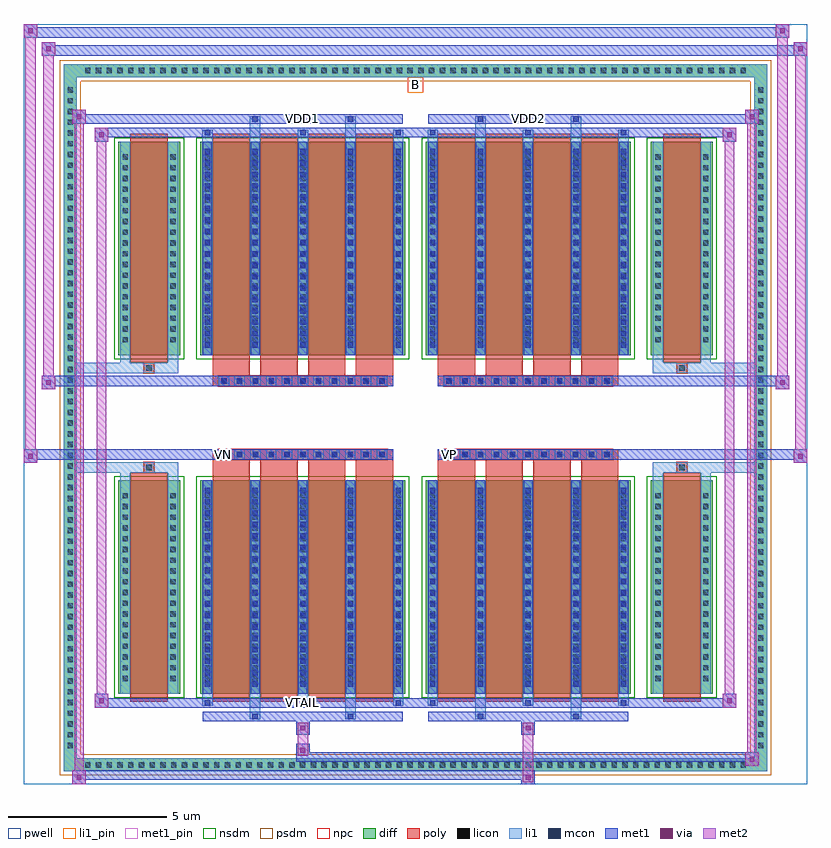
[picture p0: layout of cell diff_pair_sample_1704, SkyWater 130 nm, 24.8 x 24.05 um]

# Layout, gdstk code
import gdstk
lib = gdstk.Library(unit=1e-6, precision=5e-09)
def R(c, l, rs):  # rectangles x0, y0, x1, y1
    for r in rs: c.add(gdstk.rectangle(r[:2], r[2:], *l))
def A(c, l, x, y, w, h, nx, ny, dx, dy):  # array of equal rectangles
    R(c, l, [(x+i*dx, y+j*dy, x+i*dx+w, y+j*dy+h) for i in range(nx) for j in range(ny)])
def P(c, l, *ps):  # polygons
    for p in ps: c.add(gdstk.Polygon(p, *l))
pwell = (64, 44)
diff = (65, 20)
poly = (66, 20)
licon = (66, 44)
li1_pin = (67, 16)
li1 = (67, 20)
mcon = (67, 44)
met1_pin = (68, 16)
met1 = (68, 20)
via = (68, 44)
met2 = (69, 20)
nsdm = (93, 44)
psdm = (94, 20)
npc = (95, 20)

diff_pair_sample_1704 = lib.new_cell('diff_pair_sample_1704')
R(diff_pair_sample_1704, pwell, [(-12.4,-11.59,12.4,12.46), (-9.72,-9.78,-0.01,-0.8), (0.01,-9.78,9.72,-0.8), (-9.72,0.8,-0.01,9.78), (0.01,0.8,9.72,9.78)])
A(diff_pair_sample_1704, diff, -10.575, -11.19, 0.41, 0.41, 62, 2, 0.34, 21.97)
A(diff_pair_sample_1704, diff, -11.13, -10.575, 0.41, 0.41, 1, 62, 0, 0.34)
A(diff_pair_sample_1704, diff, 10.72, -10.575, 0.41, 0.41, 1, 62, 0, 0.34)
R(diff_pair_sample_1704, diff, [(-10.575,-11.19,10.575,-10.78), (-11.13,-10.575,-10.72,10.575), (10.72,-10.575,11.13,10.575), (-9.41,-8.735,-7.45,-1.985), (-6.81,-8.735,-0.32,-1.985), (0.32,-8.735,6.81,-1.985), (7.45,-8.735,9.41,-1.985), (-9.41,1.985,-7.45,8.735), (-6.81,1.985,-0.32,8.735), (0.32,1.985,6.81,8.735), (7.45,1.985,9.41,8.735), (-10.575,10.78,10.575,11.19)])
P(diff_pair_sample_1704, diff, [(11.13,11.19),(-11.13,11.19),(-11.13,-10.78),(-10.72,-10.78),(-10.72,10.78),(10.72,10.78),(10.72,-10.78),(-10.72,-10.78),(-11.13,-10.78),(-11.13,-11.19),(11.13,-11.19)])
A(diff_pair_sample_1704, poly, -6.42, -8.985, 1.18, 7.25, 4, 2, 1.51, 10.72)
A(diff_pair_sample_1704, poly, 0.71, -8.985, 1.18, 7.25, 4, 2, 1.51, 10.72)
A(diff_pair_sample_1704, poly, -6.42, -1.735, 1.18, 0.405, 4, 2, 1.51, 3.065)
A(diff_pair_sample_1704, poly, 0.71, -1.735, 1.18, 0.405, 4, 2, 1.51, 3.065)
A(diff_pair_sample_1704, poly, -6.23, -1.33, 0.33, 0.33, 11, 2, 0.5, 2.33)
A(diff_pair_sample_1704, poly, 0.9, -1.33, 0.33, 0.33, 11, 2, 0.5, 2.33)
R(diff_pair_sample_1704, poly, [(-9.02,-8.985,-7.84,-1.735), (7.84,-8.985,9.02,-1.735), (-8.595,-1.735,-8.265,-1.405), (-8.595,-1.735,-8.265,-1.405), (8.265,-1.735,8.595,-1.405), (8.265,-1.735,8.595,-1.405), (-6.42,-1.33,-0.71,-1), (0.71,-1.33,6.42,-1), (-6.42,1,-0.71,1.33), (0.71,1,6.42,1.33), (-8.595,1.405,-8.265,1.735), (-8.595,1.405,-8.265,1.735), (8.265,1.405,8.595,1.735), (8.265,1.405,8.595,1.735), (-9.02,1.735,-7.84,8.985), (7.84,1.735,9.02,8.985)])
A(diff_pair_sample_1704, licon, -10.455, -11.07, 0.17, 0.17, 62, 2, 0.34, 21.97)
A(diff_pair_sample_1704, licon, -11.01, -10.455, 0.17, 0.17, 1, 62, 0, 0.34)
A(diff_pair_sample_1704, licon, 10.84, -10.455, 0.17, 0.17, 1, 62, 0, 0.34)
A(diff_pair_sample_1704, licon, -9.27, -8.335, 0.17, 0.17, 1, 18, 0, 0.34)
A(diff_pair_sample_1704, licon, -7.76, -8.335, 0.17, 0.17, 1, 18, 0, 0.34)
A(diff_pair_sample_1704, licon, -6.67, -8.335, 0.17, 0.17, 5, 18, 1.51, 0.34)
A(diff_pair_sample_1704, licon, 0.46, -8.335, 0.17, 0.17, 5, 18, 1.51, 0.34)
A(diff_pair_sample_1704, licon, 7.59, -8.335, 0.17, 0.17, 1, 18, 0, 0.34)
A(diff_pair_sample_1704, licon, 9.1, -8.335, 0.17, 0.17, 1, 18, 0, 0.34)
A(diff_pair_sample_1704, licon, -6.15, -1.25, 0.17, 0.17, 11, 2, 0.5, 2.33)
A(diff_pair_sample_1704, licon, 0.98, -1.25, 0.17, 0.17, 11, 2, 0.5, 2.33)
A(diff_pair_sample_1704, licon, -9.27, 2.385, 0.17, 0.17, 1, 18, 0, 0.34)
A(diff_pair_sample_1704, licon, -7.76, 2.385, 0.17, 0.17, 1, 18, 0, 0.34)
A(diff_pair_sample_1704, licon, -6.67, 2.385, 0.17, 0.17, 5, 18, 1.51, 0.34)
A(diff_pair_sample_1704, licon, 0.46, 2.385, 0.17, 0.17, 5, 18, 1.51, 0.34)
A(diff_pair_sample_1704, licon, 7.59, 2.385, 0.17, 0.17, 1, 18, 0, 0.34)
A(diff_pair_sample_1704, licon, 9.1, 2.385, 0.17, 0.17, 1, 18, 0, 0.34)
R(diff_pair_sample_1704, licon, [(-8.515,-1.655,-8.345,-1.485), (8.345,-1.655,8.515,-1.485), (-8.515,1.485,-8.345,1.655), (8.345,1.485,8.515,1.655)])
R(diff_pair_sample_1704, li1_pin, [(-0.25,10.28,0.25,10.78)])
A(diff_pair_sample_1704, li1, -10.535, -11.15, 0.33, 0.33, 62, 2, 0.34, 21.97)
A(diff_pair_sample_1704, li1, -11.09, -10.535, 0.33, 0.33, 1, 62, 0, 0.34)
A(diff_pair_sample_1704, li1, 10.76, -10.535, 0.33, 0.33, 1, 62, 0, 0.34)
A(diff_pair_sample_1704, li1, -6.75, -9.11, 0.33, 0.375, 3, 2, 3.02, 17.845)
A(diff_pair_sample_1704, li1, -6.67, -9.11, 0.17, 0.17, 3, 2, 3.02, 18.05)
A(diff_pair_sample_1704, li1, 0.38, -9.11, 0.33, 0.375, 3, 2, 3.02, 17.845)
A(diff_pair_sample_1704, li1, 0.46, -9.11, 0.17, 0.17, 3, 2, 3.02, 18.05)
A(diff_pair_sample_1704, li1, -6.75, -8.735, 0.33, 6.75, 5, 2, 1.51, 10.72)
A(diff_pair_sample_1704, li1, 0.38, -8.735, 0.33, 6.75, 5, 2, 1.51, 10.72)
A(diff_pair_sample_1704, li1, -6.67, -8.505, 0.17, 0.17, 5, 18, 1.51, 0.36)
A(diff_pair_sample_1704, li1, -6.67, -8.505, 0.17, 6.29, 5, 2, 1.51, 10.72)
A(diff_pair_sample_1704, li1, 0.46, -8.505, 0.17, 0.17, 5, 18, 1.51, 0.36)
A(diff_pair_sample_1704, li1, 0.46, -8.505, 0.17, 6.29, 5, 2, 1.51, 10.72)
A(diff_pair_sample_1704, li1, -9.35, -8.415, 0.33, 0.33, 1, 18, 0, 0.34)
A(diff_pair_sample_1704, li1, -7.84, -8.415, 0.33, 0.33, 1, 18, 0, 0.34)
A(diff_pair_sample_1704, li1, -6.75, -8.415, 0.33, 0.33, 5, 18, 1.51, 0.34)
A(diff_pair_sample_1704, li1, 0.38, -8.415, 0.33, 0.33, 5, 18, 1.51, 0.34)
A(diff_pair_sample_1704, li1, 7.51, -8.415, 0.33, 0.33, 1, 18, 0, 0.34)
A(diff_pair_sample_1704, li1, 9.02, -8.415, 0.33, 0.33, 1, 18, 0, 0.34)
A(diff_pair_sample_1704, li1, -6.23, -1.33, 0.33, 0.33, 11, 2, 0.5, 2.33)
A(diff_pair_sample_1704, li1, 0.9, -1.33, 0.33, 0.33, 11, 2, 0.5, 2.33)
A(diff_pair_sample_1704, li1, -6.67, 2.215, 0.17, 0.17, 5, 18, 1.51, 0.36)
A(diff_pair_sample_1704, li1, 0.46, 2.215, 0.17, 0.17, 5, 18, 1.51, 0.36)
A(diff_pair_sample_1704, li1, -9.35, 2.305, 0.33, 0.33, 1, 18, 0, 0.34)
A(diff_pair_sample_1704, li1, -7.84, 2.305, 0.33, 0.33, 1, 18, 0, 0.34)
A(diff_pair_sample_1704, li1, -6.75, 2.305, 0.33, 0.33, 5, 18, 1.51, 0.34)
A(diff_pair_sample_1704, li1, 0.38, 2.305, 0.33, 0.33, 5, 18, 1.51, 0.34)
A(diff_pair_sample_1704, li1, 7.51, 2.305, 0.33, 0.33, 1, 18, 0, 0.34)
A(diff_pair_sample_1704, li1, 9.02, 2.305, 0.33, 0.33, 1, 18, 0, 0.34)
R(diff_pair_sample_1704, li1, [(-11.13,-11.19,-10.72,-10.78), (-11.13,-11.19,-10.72,-10.78), (-10.72,-11.19,10.72,-10.78), (10.72,-11.19,11.13,-10.78), (10.72,-11.19,11.13,-10.78), (-11.13,-10.78,-10.72,10.78), (10.72,-10.78,11.13,10.78), (-5.24,-9.54,-4.91,-8.735), (-5.16,-9.54,-4.99,-9.37), (-2.22,-9.54,-1.89,-8.735), (-2.14,-9.54,-1.97,-9.37), (1.89,-9.54,2.22,-8.735), (1.97,-9.54,2.14,-9.37), (4.91,-9.54,5.24,-8.735), (4.99,-9.54,5.16,-9.37), (-9.35,-8.735,-9.02,-1.985), (-7.84,-8.735,-7.51,-1.985), (7.51,-8.735,7.84,-1.985), (9.02,-8.735,9.35,-1.985), (-9.35,-1.985,-9.02,-1.405), (-7.84,-1.985,-7.51,-1.405), (7.51,-1.985,7.84,-1.405), (9.02,-1.985,9.35,-1.405), (-11.13,-1.735,-8.595,-1.405), (-9.35,-1.735,-8.595,-1.405), (-8.595,-1.735,-8.265,-1.405), (-8.265,-1.735,-7.51,-1.405), (7.51,-1.735,8.265,-1.405), (8.265,-1.735,8.595,-1.405), (8.265,-1.735,11.13,-1.405), (8.595,-1.735,9.35,-1.405), (-11.13,1.405,-8.595,1.735), (-9.35,1.405,-8.595,1.735), (-9.35,1.405,-9.02,1.985), (-8.595,1.405,-8.265,1.735), (-8.265,1.405,-7.51,1.735), (-7.84,1.405,-7.51,1.985), (7.51,1.405,8.265,1.735), (7.51,1.405,7.84,1.985), (8.265,1.405,8.595,1.735), (8.265,1.405,11.13,1.735), (8.595,1.405,9.35,1.735), (9.02,1.405,9.35,1.985), (-9.35,1.985,-9.02,8.735), (-7.84,1.985,-7.51,8.735), (7.51,1.985,7.84,8.735), (9.02,1.985,9.35,8.735), (-5.24,8.735,-4.91,9.54), (-2.22,8.735,-1.89,9.54), (1.89,8.735,2.22,9.54), (4.91,8.735,5.24,9.54), (-5.16,9.37,-4.99,9.54), (-2.14,9.37,-1.97,9.54), (1.97,9.37,2.14,9.54), (4.99,9.37,5.16,9.54), (-11.13,10.78,-10.72,11.19), (-11.13,10.78,-10.72,11.19), (-10.72,10.78,10.72,11.19), (10.72,10.78,11.13,11.19), (10.72,10.78,11.13,11.19)])
A(diff_pair_sample_1704, mcon, -6.67, -9.11, 0.17, 0.17, 3, 2, 3.02, 18.05)
A(diff_pair_sample_1704, mcon, 0.46, -9.11, 0.17, 0.17, 3, 2, 3.02, 18.05)
A(diff_pair_sample_1704, mcon, -6.67, -8.505, 0.17, 0.17, 5, 18, 1.51, 0.36)
A(diff_pair_sample_1704, mcon, 0.46, -8.505, 0.17, 0.17, 5, 18, 1.51, 0.36)
A(diff_pair_sample_1704, mcon, -6.15, -1.25, 0.17, 0.17, 11, 2, 0.5, 2.33)
A(diff_pair_sample_1704, mcon, 0.98, -1.25, 0.17, 0.17, 11, 2, 0.5, 2.33)
A(diff_pair_sample_1704, mcon, -6.67, 2.215, 0.17, 0.17, 5, 18, 1.51, 0.36)
A(diff_pair_sample_1704, mcon, 0.46, 2.215, 0.17, 0.17, 5, 18, 1.51, 0.36)
R(diff_pair_sample_1704, mcon, [(-5.16,-9.54,-4.99,-9.37), (-2.14,-9.54,-1.97,-9.37), (1.97,-9.54,2.14,-9.37), (4.99,-9.54,5.16,-9.37), (-5.16,9.37,-4.99,9.54), (-2.14,9.37,-1.97,9.54), (1.97,9.37,2.14,9.54), (4.99,9.37,5.16,9.54)])
R(diff_pair_sample_1704, met1_pin, [(-3.7,-9.15,-3.43,-8.88), (-6.2,-1.29,-5.93,-1.02), (0.93,-1.29,1.2,-1.02), (-3.7,9.33,-3.43,9.6), (3.43,9.33,3.7,9.6)])
A(diff_pair_sample_1704, met1, -6.73, -9.17, 0.29, 0.29, 3, 2, 3.02, 18.05)
A(diff_pair_sample_1704, met1, 0.4, -9.17, 0.29, 0.29, 3, 2, 3.02, 18.05)
A(diff_pair_sample_1704, met1, -6.73, -8.735, 0.29, 6.75, 5, 2, 1.51, 10.72)
A(diff_pair_sample_1704, met1, 0.4, -8.735, 0.29, 6.75, 5, 2, 1.51, 10.72)
A(diff_pair_sample_1704, met1, -6.73, -8.565, 0.29, 0.29, 5, 18, 1.51, 0.36)
A(diff_pair_sample_1704, met1, 0.4, -8.565, 0.29, 0.29, 5, 18, 1.51, 0.36)
A(diff_pair_sample_1704, met1, -6.21, -1.31, 0.29, 0.29, 11, 2, 0.5, 2.33)
A(diff_pair_sample_1704, met1, 0.92, -1.31, 0.29, 0.29, 11, 2, 0.5, 2.33)
A(diff_pair_sample_1704, met1, -6.73, 2.155, 0.29, 0.29, 5, 18, 1.51, 0.36)
A(diff_pair_sample_1704, met1, 0.4, 2.155, 0.29, 0.29, 5, 18, 1.51, 0.36)
R(diff_pair_sample_1704, met1, [(-10.86,-11.59,-10.43,-11.16), (3.35,-11.59,3.78,-11.16), (-10.86,-11.45,3.78,-11.16), (10.43,-11.02,10.86,-10.59), (-3.78,-10.88,10.86,-10.59), (-3.78,-10.74,-3.35,-10.31), (-3.78,-10.03,-3.35,-9.6), (3.35,-10.03,3.78,-9.6), (-6.73,-9.6,-0.4,-9.31), (-5.22,-9.6,-4.93,-9.31), (-2.2,-9.6,-1.91,-9.31), (0.4,-9.6,6.73,-9.31), (1.91,-9.6,2.2,-9.31), (4.93,-9.6,5.22,-9.31), (-10.15,-9.17,-9.72,-8.74), (-10.15,-9.17,-6.73,-8.88), (-6.73,-9.17,-0.4,-8.88), (-0.4,-9.17,0.4,-8.88), (0.4,-9.17,6.73,-8.88), (6.73,-9.17,10.15,-8.88), (9.72,-9.17,10.15,-8.74), (-12.4,-1.43,-11.97,-1), (11.97,-1.43,12.4,-1), (-12.4,-1.33,-0.71,-1), (-6.42,-1.33,-0.71,-1), (0.71,-1.33,6.42,-1), (0.71,-1.33,12.4,-1), (-11.83,0.9,-11.4,1.33), (11.4,0.9,11.83,1.33), (-11.83,1,-6.42,1.33), (-6.42,1,-0.71,1.33), (0.71,1,6.42,1.33), (6.42,1,11.83,1.33), (-10.15,8.74,-9.72,9.17), (9.72,8.74,10.15,9.17), (-10.15,8.88,-6.73,9.17), (-6.73,8.88,-0.4,9.17), (-0.4,8.88,0.4,9.17), (0.4,8.88,6.73,9.17), (6.73,8.88,10.15,9.17), (-10.86,9.31,-10.43,9.74), (-10.86,9.31,-6.73,9.6), (-6.73,9.31,-0.4,9.6), (-5.22,9.31,-4.93,9.6), (-2.2,9.31,-1.91,9.6), (0.4,9.31,6.73,9.6), (1.91,9.31,2.2,9.6), (4.93,9.31,5.22,9.6), (6.73,9.31,10.86,9.6), (10.43,9.31,10.86,9.74), (-11.83,11.46,-11.4,11.89), (-11.83,11.46,-9.72,11.79), (-9.72,11.46,9.72,11.79), (9.72,11.46,12.4,11.79), (11.97,11.46,12.4,11.89), (-12.4,12.03,-11.97,12.46), (-12.4,12.03,-9.72,12.36), (-9.72,12.03,9.72,12.36), (9.72,12.03,11.83,12.36), (11.4,12.03,11.83,12.46)])
R(diff_pair_sample_1704, via, [(-10.72,-11.45,-10.57,-11.3), (3.49,-11.45,3.64,-11.3), (10.57,-10.88,10.72,-10.73), (-3.64,-10.6,-3.49,-10.45), (-3.64,-9.89,-3.49,-9.74), (3.49,-9.89,3.64,-9.74), (-10.01,-9.03,-9.86,-8.88), (9.86,-9.03,10.01,-8.88), (-12.26,-1.29,-12.11,-1.14), (12.11,-1.29,12.26,-1.14), (-11.69,1.04,-11.54,1.19), (11.54,1.04,11.69,1.19), (-10.01,8.88,-9.86,9.03), (9.86,8.88,10.01,9.03), (-10.72,9.45,-10.57,9.6), (10.57,9.45,10.72,9.6), (-11.69,11.6,-11.54,11.75), (12.11,11.6,12.26,11.75), (-12.26,12.17,-12.11,12.32), (11.54,12.17,11.69,12.32)])
R(diff_pair_sample_1704, met2, [(-10.86,-11.59,-10.43,-11.16), (-10.79,-11.59,-10.5,9.74), (-10.5,-11.59,-10.43,-11.16), (-10.81,-11.54,-10.48,-11.21), (3.4,-11.54,3.73,-11.21), (3.4,-11.21,3.73,-9.98), (10.43,-11.02,10.86,-10.59), (10.5,-11.02,10.79,9.74), (10.79,-11.02,10.86,-10.59), (10.48,-10.97,10.81,-10.64), (-3.73,-10.69,-3.4,-10.36), (-3.73,-10.36,-3.4,-9.98), (-3.73,-9.98,-3.4,-9.65), (3.4,-9.98,3.73,-9.65), (-10.15,-9.17,-9.72,-8.74), (-10.08,-9.17,-9.79,9.17), (-9.79,-9.17,-9.72,-8.74), (9.72,-9.17,10.15,-8.74), (9.79,-9.17,10.08,9.17), (10.08,-9.17,10.15,-8.74), (-10.1,-9.12,-9.77,-8.79), (9.77,-9.12,10.1,-8.79), (-12.4,-1.43,-11.97,-1), (-12.35,-1.43,-12.02,12.46), (-12.02,-1.43,-11.97,-1), (11.97,-1.43,12.4,-1), (12.02,-1.43,12.35,11.89), (12.35,-1.43,12.4,-1), (-12.35,-1.38,-12.02,-1.05), (12.02,-1.38,12.35,-1.05), (-11.83,0.9,-11.4,1.33), (-11.78,0.9,-11.45,11.89), (-11.45,0.9,-11.4,1.33), (11.4,0.9,11.83,1.33), (11.45,0.9,11.78,12.46), (11.78,0.9,11.83,1.33), (-11.78,0.95,-11.45,1.28), (11.45,0.95,11.78,1.28), (-10.15,8.74,-9.72,9.17), (-9.79,8.74,-9.72,9.17), (9.72,8.74,10.15,9.17), (10.08,8.74,10.15,9.17), (-10.1,8.79,-9.77,9.12), (9.77,8.79,10.1,9.12), (-10.86,9.31,-10.43,9.74), (-10.5,9.31,-10.43,9.74), (10.43,9.31,10.86,9.74), (10.79,9.31,10.86,9.74), (-10.81,9.36,-10.48,9.69), (10.48,9.36,10.81,9.69), (-11.83,11.46,-11.4,11.89), (-11.45,11.46,-11.4,11.89), (11.97,11.46,12.4,11.89), (12.35,11.46,12.4,11.89), (-11.78,11.51,-11.45,11.84), (12.02,11.51,12.35,11.84), (-12.4,12.03,-11.97,12.46), (-12.02,12.03,-11.97,12.46), (11.4,12.03,11.83,12.46), (11.78,12.03,11.83,12.46), (-12.35,12.08,-12.02,12.41), (11.45,12.08,11.78,12.41)])
R(diff_pair_sample_1704, nsdm, [(-9.54,-8.865,-7.32,-1.855), (-6.94,-8.865,-0.19,-1.855), (0.19,-8.865,6.94,-1.855), (7.32,-8.865,9.54,-1.855), (-9.54,1.855,-7.32,8.865), (-6.94,1.855,-0.19,8.865), (0.19,1.855,6.94,8.865), (7.32,1.855,9.54,8.865)])
P(diff_pair_sample_1704, psdm, [(11.26,11.32),(-11.26,11.32),(-11.26,-10.65),(-10.59,-10.65),(-10.59,10.65),(10.59,10.65),(10.59,-10.65),(-10.59,-10.65),(-11.26,-10.65),(-11.26,-11.32),(11.26,-11.32)])
A(diff_pair_sample_1704, npc, -6.25, -1.35, 0.37, 0.37, 11, 2, 0.5, 2.33)
A(diff_pair_sample_1704, npc, 0.88, -1.35, 0.37, 0.37, 11, 2, 0.5, 2.33)
R(diff_pair_sample_1704, npc, [(-8.615,-1.755,-8.245,-1.385), (8.245,-1.755,8.615,-1.385), (-6.25,-1.35,-5.38,-0.98), (-6.25,-1.35,-5.38,-0.98), (-5.75,-1.35,-4.88,-0.98), (-5.75,-1.35,-4.88,-0.98), (-5.25,-1.35,-4.38,-0.98), (-5.25,-1.35,-4.38,-0.98), (-4.75,-1.35,-3.88,-0.98), (-4.75,-1.35,-3.88,-0.98), (-4.25,-1.35,-3.38,-0.98), (-4.25,-1.35,-3.38,-0.98), (-3.75,-1.35,-2.88,-0.98), (-3.75,-1.35,-2.88,-0.98), (-3.25,-1.35,-2.38,-0.98), (-3.25,-1.35,-2.38,-0.98), (-2.75,-1.35,-1.88,-0.98), (-2.75,-1.35,-1.88,-0.98), (-2.25,-1.35,-1.38,-0.98), (-2.25,-1.35,-1.38,-0.98), (-1.75,-1.35,-0.88,-0.98), (-1.75,-1.35,-0.88,-0.98), (0.88,-1.35,1.75,-0.98), (0.88,-1.35,1.75,-0.98), (1.38,-1.35,2.25,-0.98), (1.38,-1.35,2.25,-0.98), (1.88,-1.35,2.75,-0.98), (1.88,-1.35,2.75,-0.98), (2.38,-1.35,3.25,-0.98), (2.38,-1.35,3.25,-0.98), (2.88,-1.35,3.75,-0.98), (2.88,-1.35,3.75,-0.98), (3.38,-1.35,4.25,-0.98), (3.38,-1.35,4.25,-0.98), (3.88,-1.35,4.75,-0.98), (3.88,-1.35,4.75,-0.98), (4.38,-1.35,5.25,-0.98), (4.38,-1.35,5.25,-0.98), (4.88,-1.35,5.75,-0.98), (4.88,-1.35,5.75,-0.98), (5.38,-1.35,6.25,-0.98), (5.38,-1.35,6.25,-0.98), (-6.25,0.98,-5.38,1.35), (-6.25,0.98,-5.38,1.35), (-5.75,0.98,-4.88,1.35), (-5.75,0.98,-4.88,1.35), (-5.25,0.98,-4.38,1.35), (-5.25,0.98,-4.38,1.35), (-4.75,0.98,-3.88,1.35), (-4.75,0.98,-3.88,1.35), (-4.25,0.98,-3.38,1.35), (-4.25,0.98,-3.38,1.35), (-3.75,0.98,-2.88,1.35), (-3.75,0.98,-2.88,1.35), (-3.25,0.98,-2.38,1.35), (-3.25,0.98,-2.38,1.35), (-2.75,0.98,-1.88,1.35), (-2.75,0.98,-1.88,1.35), (-2.25,0.98,-1.38,1.35), (-2.25,0.98,-1.38,1.35), (-1.75,0.98,-0.88,1.35), (-1.75,0.98,-0.88,1.35), (0.88,0.98,1.75,1.35), (0.88,0.98,1.75,1.35), (1.38,0.98,2.25,1.35), (1.38,0.98,2.25,1.35), (1.88,0.98,2.75,1.35), (1.88,0.98,2.75,1.35), (2.38,0.98,3.25,1.35), (2.38,0.98,3.25,1.35), (2.88,0.98,3.75,1.35), (2.88,0.98,3.75,1.35), (3.38,0.98,4.25,1.35), (3.38,0.98,4.25,1.35), (3.88,0.98,4.75,1.35), (3.88,0.98,4.75,1.35), (4.38,0.98,5.25,1.35), (4.38,0.98,5.25,1.35), (4.88,0.98,5.75,1.35), (4.88,0.98,5.75,1.35), (5.38,0.98,6.25,1.35), (5.38,0.98,6.25,1.35), (-8.615,1.385,-8.245,1.755), (8.245,1.385,8.615,1.755)])
diff_pair_sample_1704.add(gdstk.Label('VTAIL', (-3.565,-9.015), layer=68, texttype=5))
diff_pair_sample_1704.add(gdstk.Label('VN', (-6.065,-1.155), layer=68, texttype=5))
diff_pair_sample_1704.add(gdstk.Label('VP', (1.065,-1.155), layer=68, texttype=5))
diff_pair_sample_1704.add(gdstk.Label('B', (0,10.53), layer=67, texttype=5))
diff_pair_sample_1704.add(gdstk.Label('VDD2', (3.565,9.465), layer=68, texttype=5))
diff_pair_sample_1704.add(gdstk.Label('VDD1', (-3.565,9.465), layer=68, texttype=5))

lib.write_gds('diff_pair_sample_1704.gds')
